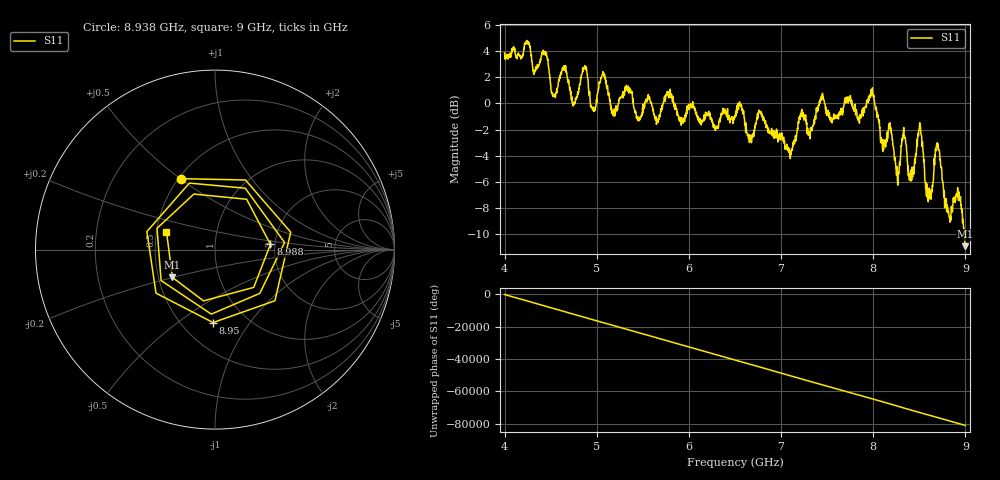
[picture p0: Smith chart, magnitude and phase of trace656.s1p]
! Created with skrf 1.8.0 (http://scikit-rf.org).
# Hz S RI R 50.0
!freq ReS11 ImS11
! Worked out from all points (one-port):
!   1601 points, 4 GHz to 9 GHz, reference 50 ohm
!   lowest |S11| = -11.0 dB at 8.997 GHz (marker M1), VSWR 1.79, Z = 29.6 - j10 ohm
!   |S11| at or under -10 dB: 8.98683 GHz to end of sweep
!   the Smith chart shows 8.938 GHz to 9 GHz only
!   S11 on the Smith chart (normalised r, x): 8.938 GHz: 0.51, +0.50; 8.95 GHz: 0.70, -0.69; 8.988 GHz: 1.89, +0.12; 9 GHz: 0.57, +0.12
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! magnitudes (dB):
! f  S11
! 4 GHz  3.9
! 4.438 GHz  3.9
! 4.534 GHz  0.7
! 4.625 GHz  2.6
! 4.75 GHz  0.0
! 4.866 GHz  2.8
! 4.959 GHz  -0.4
! 5.069 GHz  2.3
! 5.25 GHz  0.4
! 5.875 GHz  -0.7
! 6.5 GHz  -1.0
! 7.125 GHz  -3.4
! 7.219 GHz  -0.7
! 7.75 GHz  0.6
! 7.988 GHz  0.8
! 8.103 GHz  -3.7
! 8.334 GHz  -2.6
! 8.375 GHz  -5.2
! 8.419 GHz  -5.9
! 8.506 GHz  -1.5
! 8.594 GHz  -7.0
! 8.697 GHz  -3.3
! 8.819 GHz  -8.5
! 8.938 GHz  -7.2
! 8.95 GHz  -7.8
! 8.988 GHz  -10.2
! 8.997 GHz  -11.0
! 9 GHz  -10.8
